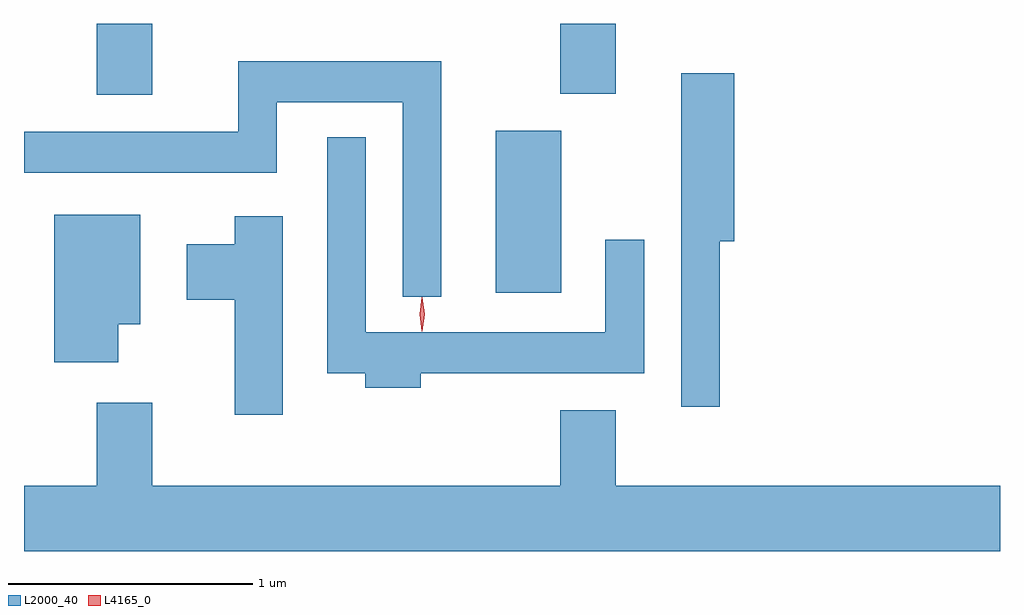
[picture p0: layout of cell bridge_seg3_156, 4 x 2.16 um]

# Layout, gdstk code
import gdstk
lib = gdstk.Library(unit=1e-6, precision=1e-09)
def R(c, l, rs):  # rectangles x0, y0, x1, y1
    for r in rs: c.add(gdstk.rectangle(r[:2], r[2:], *l))
def P(c, l, *ps):  # polygons
    for p in ps: c.add(gdstk.Polygon(p, *l))
L2000_40 = (2000, 40)
L4165_0 = (4165, 0)

bridge_seg3_156 = lib.new_cell('bridge_seg3_156')
R(bridge_seg3_156, L2000_40, [(909.376,1224.756,909.644,1225.419), (907.741,1225.566,907.969,1225.857), (909.641,1225.571,909.869,1225.857)])
P(bridge_seg3_156, L2000_40, [(909.154,1225.704),(908.321,1225.704),(908.321,1225.414),(907.443,1225.414),(907.443,1225.246),(908.479,1225.246),(908.479,1225.536),(908.996,1225.536),(908.996,1224.738),(909.154,1224.738)],
  [(910.294,1224.966),(910.354,1224.966),(910.354,1225.654),(910.136,1225.654),(910.136,1224.288),(910.294,1224.288)],
  [(909.069,1224.426),(909.984,1224.426),(909.984,1224.973),(909.826,1224.973),(909.826,1224.594),(908.844,1224.594),(908.844,1225.393),(908.686,1225.393),(908.686,1224.426),(908.841,1224.426),(908.841,1224.366),(909.069,1224.366)],
  [(907.829,1224.626),(907.919,1224.626),(907.919,1225.074),(907.566,1225.074),(907.566,1224.471),(907.829,1224.471)],
  [(908.504,1225.069),(908.306,1225.069),(908.306,1224.954),(908.111,1224.954),(908.111,1224.726),(908.306,1224.726),(908.306,1224.256),(908.504,1224.256)],
  [(911.443,1223.964),(909.869,1223.964),(909.869,1224.274),(909.641,1224.274),(909.641,1223.964),(907.969,1223.964),(907.969,1224.304),(907.741,1224.304),(907.741,1223.964),(907.443,1223.964),(907.443,1223.696),(911.443,1223.696)])
P(bridge_seg3_156, L4165_0, [(909.075,1224.597),(909.074,1224.598),(909.065,1224.667),(909.074,1224.736),(909.075,1224.736),(909.075,1224.736),(909.085,1224.667),(909.075,1224.598)])

lib.write_gds('bridge_seg3_156.gds')
